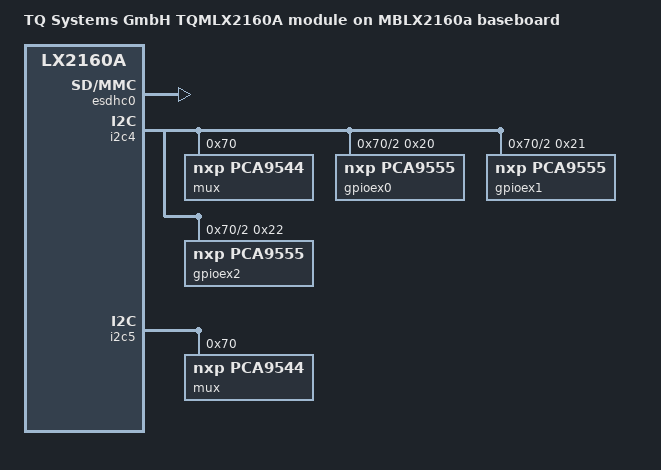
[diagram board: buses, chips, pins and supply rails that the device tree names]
// SPDX-License-Identifier: GPL-2.0+ OR X11
/*
 * TQ TMLX2160ARDB device tree source
 *
 * Author:	Gregor Herburger <gregor.herburger@tq-group.com>
 *
 * Copyright 2020
 *
 */

/dts-v1/;

#include "fsl-lx2160a-tqmlx2160a.dtsi"

/ {
	model = "TQ Systems GmbH TQMLX2160A module on MBLX2160a baseboard";
	compatible = "tq,tqmlx2160a-mblx2160a, tq,tqmlx2160a", "fsl,lx2160a";
};

&esdhc0 {
	status = "okay";
};

&i2c4 {
	status = "okay";

	mux@70 {
		compatible = "nxp,pca9544";
		reg = <0x70>;
		#address-cells = <1>;
		#size-cells = <0>;

		i2c@0 {
			#address-cells = <1>;
			#size-cells = <0>;
			reg = <0>;
		};

		i2c@1 {
			#address-cells = <1>;
			#size-cells = <0>;
			reg = <1>;
		};

		i2c@2 {
			#address-cells = <1>;
			#size-cells = <0>;
			reg = <2>;

			gpioex0: gpio@20 {
				compatible = "nxp,pca9555";
				reg = <0x20>;
				#gpio-cells = <2>;
				gpio-controller;
			};

			gpioex1: gpio@21 {
				compatible = "nxp,pca9555";
				reg = <0x21>;
				#gpio-cells = <2>;
				gpio-controller;
			};

			gpioex2: gpio@22 {
				compatible = "nxp,pca9555";
				reg = <0x22>;
				#gpio-cells = <2>;
				gpio-controller;
			};
		};

		i2c@3 {
			#address-cells = <1>;
			#size-cells = <0>;
			reg = <3>;
		};
	};
};

&i2c5 {
	status = "okay";

	mux@70 {
		compatible = "nxp,pca9544";
		reg = <0x70>;
		#address-cells = <1>;
		#size-cells = <0>;

		i2c@0 {
			#address-cells = <1>;
			#size-cells = <0>;
			reg = <0>;
		};

		i2c@1 {
			#address-cells = <1>;
			#size-cells = <0>;
			reg = <1>;
		};

		i2c@2 {
			#address-cells = <1>;
			#size-cells = <0>;
			reg = <2>;
		};

		i2c@3 {
			#address-cells = <1>;
			#size-cells = <0>;
			reg = <3>;
		};
	};
};
